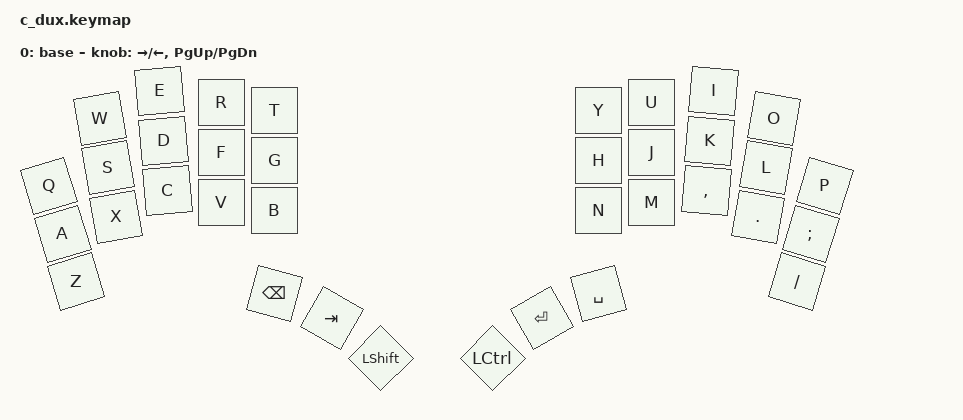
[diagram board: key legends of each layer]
#include <behaviors.dtsi>
#include <dt-bindings/zmk/keys.h>

/ {
    combos {
        compatible = "zmk,combos";

        combo_esc {
            timeout-ms = <50>;
            key-positions = <12 13>;
            layers = <0>;
            bindings = <&kp ESC>;
        };

        combo_unlock {
            timeout-ms = <50>;
            key-positions = <3 4 32>;
            layers = <0>;
            bindings = <&studio_unlock>;
        };
    };

    keymap {
        compatible = "zmk,keymap";

        base_layer {
            display-name = "base";
            bindings = <
                &kp Q     &kp W     &kp E     &kp R     &kp T     &kp Y     &kp U     &kp I     &kp O     &kp P
                &kp A     &kp S     &kp D     &kp F     &kp G     &kp H     &kp J     &kp K     &kp L     &kp SEMI
                &kp Z     &kp X     &kp C     &kp V     &kp B     &kp N     &kp M     &kp COMMA &kp DOT   &kp SLASH
                                    &kp BSPC  &kp TAB   &kp LSHFT &kp LCTRL &kp ENTER &kp SPACE
            >;

            sensor-bindings = <&inc_dec_kp RIGHT LEFT &inc_dec_kp PG_UP PG_DN>;
        };

    };

};
